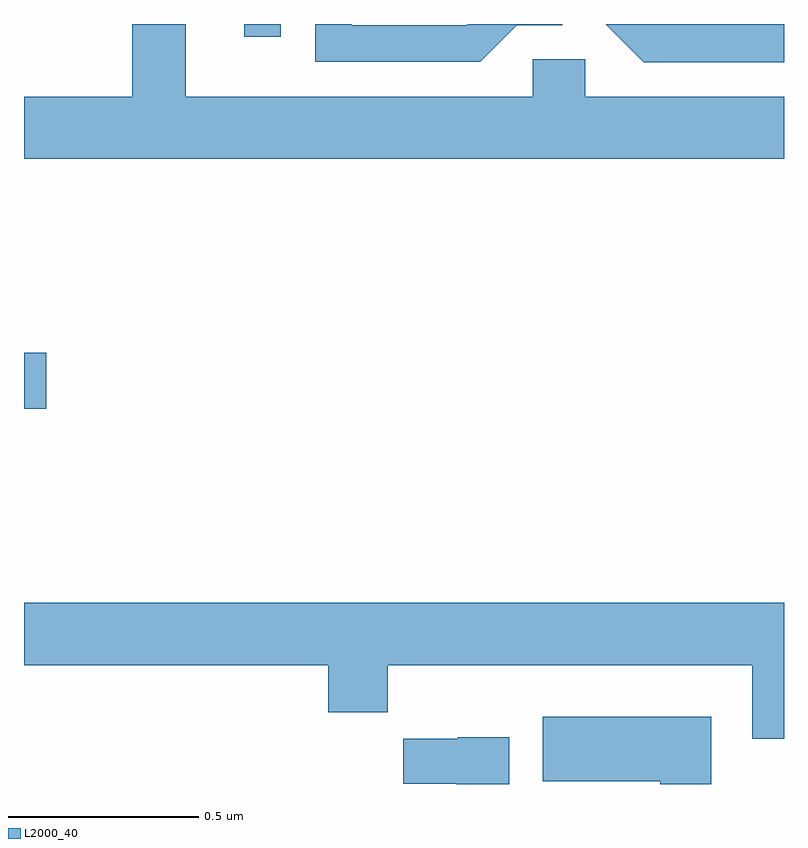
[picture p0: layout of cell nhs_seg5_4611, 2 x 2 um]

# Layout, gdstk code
import gdstk
lib = gdstk.Library(unit=1e-6, precision=1e-09)
def R(c, l, rs):  # rectangles x0, y0, x1, y1
    for r in rs: c.add(gdstk.rectangle(r[:2], r[2:], *l))
def P(c, l, *ps):  # polygons
    for p in ps: c.add(gdstk.Polygon(p, *l))
L2000_40 = (2000, 40)

nhs_seg5_4611 = lib.new_cell('nhs_seg5_4611')
R(nhs_seg5_4611, L2000_40, [(173,838.787,173.059,838.934), (173.579,839.766,173.675,839.799)])
P(nhs_seg5_4611, L2000_40, [(175,839.608),(174.477,839.608),(174.477,839.706),(174.339,839.706),(174.339,839.608),(173.425,839.608),(173.425,839.799),(173.285,839.799),(173.285,839.608),(173,839.608),(173,839.444),(175,839.444)],
  [(174.297,839.796),(174.416,839.796),(174.416,839.799),(174.168,839.799),(174.165,839.796),(173.862,839.796),(173.862,839.799),(173.766,839.799),(173.766,839.7),(174.201,839.7)],
  [(175,839.799),(174.531,839.799),(174.631,839.699),(175,839.699)],
  [(175,838.276),(173,838.276),(173,838.112),(173.801,838.112),(173.801,837.988),(173.957,837.988),(173.957,838.112),(174.917,838.112),(174.917,837.918),(175,837.918)],
  [(174.808,837.976),(174.365,837.976),(174.365,837.806),(174.674,837.806),(174.674,837.799),(174.808,837.799)],
  [(174.277,837.922),(174.141,837.922),(174.141,837.918),(173.998,837.918),(173.998,837.8),(174.137,837.8),(174.137,837.799),(174.277,837.799)])

lib.write_gds('nhs_seg5_4611.gds')
